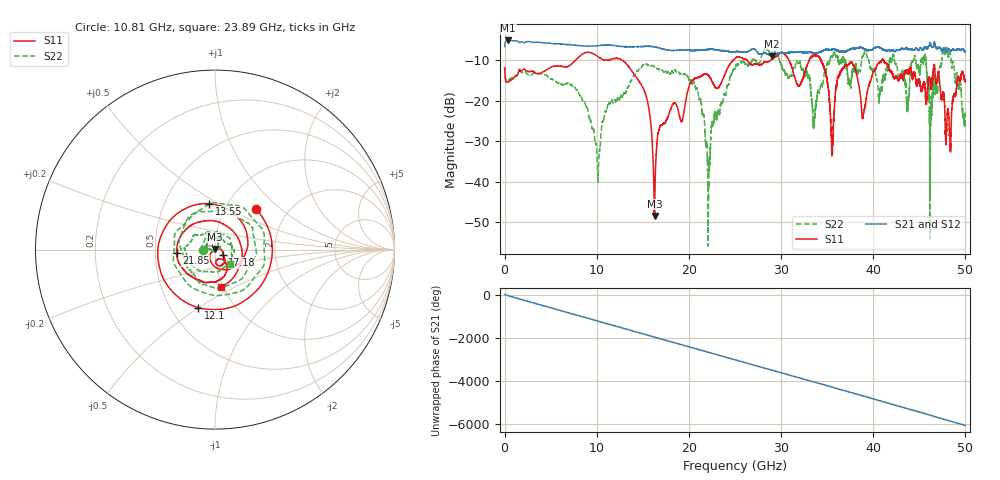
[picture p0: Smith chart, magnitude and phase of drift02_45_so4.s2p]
!Created with skrf (http://scikit-rf.org).
# Hz S RI R 50.0
!freq ReS11 ImS11 ReS21 ImS21 ReS12 ImS12 ReS22 ImS22
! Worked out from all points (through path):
!   10001 points, 300 kHz to 50 GHz, reference 50 ohm
!   highest |S21| = -5.04 dB at 375.3 MHz (marker M1); lowest = -8.9 dB at 28.98 GHz (marker M2)
!   group delay of S21, straight-line fit = 336 ps
!   lowest |S11| = -48.5 dB at 16.27 GHz (marker M3), VSWR 1.01, Z = 49.9 + j0.362 ohm
!   |S11| at or under -10 dB: start of sweep to 7.667 GHz; 12.82 GHz to 24.78 GHz (11.95 GHz wide, 63.6 % of centre); 41.13 GHz to end of sweep (the widest 3 of 11)
!   |S22| runs from -56.0 to -6.8 dB; largest |S21 - S12| = 0.029
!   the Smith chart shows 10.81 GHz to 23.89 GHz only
!   S11 on the Smith chart (normalised r, x): 10.81 GHz: 1.38, +0.70; 12.1 GHz: 0.68, -0.50; 13.55 GHz: 0.83, +0.45; 17.18 GHz: 1.09, -0.07; 21.85 GHz: 0.65, -0.03; 23.89 GHz: 0.98, -0.43
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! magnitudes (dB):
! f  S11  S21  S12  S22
! 300 kHz  -11.8  -6.6  -6.5  -11.7
! 375.3 MHz  -15.2  -5.0  -5.0  -15.0
! 8.335 GHz  -8.6  -6.4  -6.4  -19.1
! 10.11 GHz  -9.0  -6.3  -6.3  -38.5
! 10.81 GHz  -9.9  -6.2  -6.2  -23.6
! 12.1 GHz  -9.5  -6.4  -6.4  -20.4
! 13.55 GHz  -11.8  -6.6  -6.6  -15.9
! 16.27 GHz  -48.5  -6.6  -6.6  -11.7
! 16.67 GHz  -27.8  -6.8  -6.8  -12.2
! 17.18 GHz  -25.7  -7.2  -7.1  -12.6
! 21.85 GHz  -13.4  -7.3  -7.3  -31.3
! 23.89 GHz  -13.5  -7.6  -7.6  -18.5
! 25 GHz  -9.6  -7.8  -7.9  -11.9
! 28.98 GHz  -9.8  -8.9  -8.9  -8.0
! 33.34 GHz  -9.1  -8.0  -8.0  -20.6
! 35.54 GHz  -31.9  -7.3  -7.4  -9.2
! 36.8 GHz  -11.8  -7.8  -7.8  -10.0
! 41.67 GHz  -11.9  -7.4  -7.5  -11.7
! 45.5 GHz  -15.4  -6.9  -6.9  -9.5
! 46.26 GHz  -17.2  -6.2  -6.2  -23.7
! 48.12 GHz  -22.5  -7.2  -7.1  -9.1
! 50 GHz  -15.2  -7.9  -7.9  -22.9
